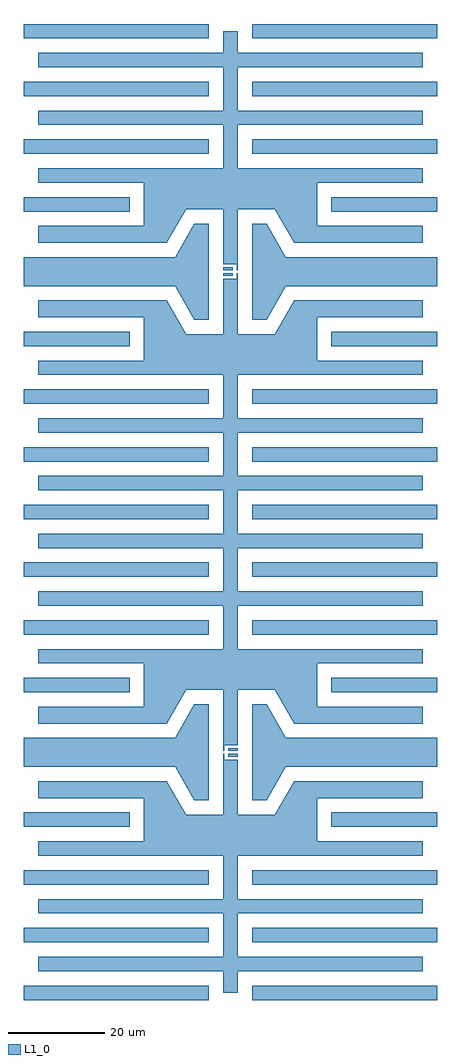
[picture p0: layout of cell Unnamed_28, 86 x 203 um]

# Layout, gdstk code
from math import pi, radians
import gdstk
lib = gdstk.Library(unit=1e-6, precision=1e-09)
def R(c, l, rs):  # rectangles x0, y0, x1, y1
    for r in rs: c.add(gdstk.rectangle(r[:2], r[2:], *l))
def P(c, l, *ps):  # polygons
    for p in ps: c.add(gdstk.Polygon(p, *l))
L1_0 = (1, 0)

unnamed_32 = lib.new_cell('Unnamed_32')
P(unnamed_32, L1_0, [(38.5,0),(38.5,4.5),(0,4.5),(0,7.5),(38.5,7.5),(38.5,16.5),(0,16.5),(0,19.5),(38.5,19.5),(38.5,28.5),(0,28.5),(0,31.5),(22,31.5),(22,40.5),(0,40.5),(0,44),(26.759,44),(30.759,37),(38.5,37),(38.5,48.5),(40,48.5),(40,0)])

straight_l38p5_n2_csxs_e = lib.new_cell('straight_L38p5_N2_CSxs_e9659eb0')
R(straight_l38p5_n2_csxs_e, L1_0, [(0,-1.5,38.5,1.5)])

straight_array_n3_s9_l3_ = lib.new_cell('straight_array_N3_S9_L3_b91b2c6a')
straight_array_n3_s9_l3_.add(gdstk.Reference(straight_l38p5_n2_csxs_e, (0,0)))
straight_array_n3_s9_l3_.add(gdstk.Reference(straight_l38p5_n2_csxs_e, (0,12)))
straight_array_n3_s9_l3_.add(gdstk.Reference(straight_l38p5_n2_csxs_e, (0,24)))

straight_l22_n2_csxs_e96 = lib.new_cell('straight_L22_N2_CSxs_e9659eb0')
R(straight_l22_n2_csxs_e96, L1_0, [(0,-1.5,22,1.5)])

unnamed_29 = lib.new_cell('Unnamed_29')
unnamed_29.add(gdstk.Reference(straight_array_n3_s9_l3_, (-3,0)))
unnamed_29.add(gdstk.Reference(straight_l22_n2_csxs_e96, (-3,36)))

straight_l31p5_n2_csxs_4 = lib.new_cell('straight_L31p5_N2_CSxs_41e8578a')
R(straight_l31p5_n2_csxs_4, L1_0, [(0,-3,31.5,3)])

triangle_x10_x3_y7_y3_l1 = lib.new_cell('triangle_X10_X3_Y7_Y3_L1_0')
P(triangle_x10_x3_y7_y3_l1, L1_0, [(0,0),(0,7),(3,7),(10,3),(10,0)])

unnamed_30 = lib.new_cell('Unnamed_30')
unnamed_30.add(gdstk.Reference(straight_l31p5_n2_csxs_4, (-3,50)))
unnamed_30.add(gdstk.Reference(triangle_x10_x3_y7_y3_l1, (35.5,50), rotation=3*pi/2, x_reflection=True))

unnamed_33 = lib.new_cell('Unnamed_33')
unnamed_33.add(gdstk.Reference(unnamed_32, (0,0)))
unnamed_33.add(gdstk.Reference(unnamed_29, (0,0)))
unnamed_33.add(gdstk.Reference(unnamed_30, (0,0)))

rectangle_s2_0p6_lwg_cf_ = lib.new_cell('rectangle_S2_0p6_LWG_CF_a6a46f17')
R(rectangle_s2_0p6_lwg_cf_, L1_0, [(0,0,2,0.6)])

rectangle_s0p2_1p2_lwg__ = lib.new_cell('rectangle_S0p2_1p2_LWG__107b6a9b')
R(rectangle_s0p2_1p2_lwg__, L1_0, [(0,0,0.2,1.2)])

unnamed_34 = lib.new_cell('Unnamed_34')
unnamed_34.add(gdstk.Reference(rectangle_s2_0p6_lwg_cf_, (0,-0.9)))
unnamed_34.add(gdstk.Reference(rectangle_s0p2_1p2_lwg__, (2.8,-1.5)))

unit_cell_a0 = lib.new_cell('unit_cell_A0')
unit_cell_a0.add(gdstk.Reference(unnamed_33, (0,0)))
unit_cell_a0.add(gdstk.Reference(unnamed_33, (80,0), rotation=pi, x_reflection=True))
unit_cell_a0.add(gdstk.Reference(unnamed_33, (0,100), x_reflection=True))
unit_cell_a0.add(gdstk.Reference(unnamed_33, (80,100), rotation=pi))
unit_cell_a0.add(gdstk.Reference(unnamed_34, (38.5,50)))
unit_cell_a0.add(gdstk.Reference(unnamed_34, (38.5,50), x_reflection=True))

unnamed_39 = lib.new_cell('Unnamed_39')
P(unnamed_39, L1_0, [(38.5,0),(38.5,4.5),(0,4.5),(0,7.5),(38.5,7.5),(38.5,16.5),(0,16.5),(0,19.5),(38.5,19.5),(38.5,28.5),(0,28.5),(0,31.5),(22,31.5),(22,40.5),(0,40.5),(0,44),(26.759,44),(30.759,37),(38.5,37),(38.5,48.5),(40,48.5),(40,0)])

unnamed_36 = lib.new_cell('Unnamed_36')
unnamed_36.add(gdstk.Reference(straight_array_n3_s9_l3_, (-3,0)))
unnamed_36.add(gdstk.Reference(straight_l22_n2_csxs_e96, (-3,36)))

unnamed_37 = lib.new_cell('Unnamed_37')
unnamed_37.add(gdstk.Reference(straight_l31p5_n2_csxs_4, (-3,50)))
unnamed_37.add(gdstk.Reference(triangle_x10_x3_y7_y3_l1, (35.5,50), rotation=3*pi/2, x_reflection=True))

unnamed_40 = lib.new_cell('Unnamed_40')
unnamed_40.add(gdstk.Reference(unnamed_39, (0,0)))
unnamed_40.add(gdstk.Reference(unnamed_36, (0,0)))
unnamed_40.add(gdstk.Reference(unnamed_37, (0,0)))

unnamed_41 = lib.new_cell('Unnamed_41')
unnamed_41.add(gdstk.Reference(rectangle_s2_0p6_lwg_cf_, (1,-0.9)))
unnamed_41.add(gdstk.Reference(rectangle_s0p2_1p2_lwg__, (0,-1.5)))

unit_cell_a1 = lib.new_cell('unit_cell_A1')
unit_cell_a1.add(gdstk.Reference(unnamed_40, (0,0)))
unit_cell_a1.add(gdstk.Reference(unnamed_40, (80,0), rotation=pi, x_reflection=True))
unit_cell_a1.add(gdstk.Reference(unnamed_40, (0,100), x_reflection=True))
unit_cell_a1.add(gdstk.Reference(unnamed_40, (80,100), rotation=pi))
unit_cell_a1.add(gdstk.Reference(unnamed_41, (38.5,50)))
unit_cell_a1.add(gdstk.Reference(unnamed_41, (38.5,50), x_reflection=True))

unnamed_28 = lib.new_cell('Unnamed_28')
unnamed_28.add(gdstk.Reference(unit_cell_a0, (0,100)))
unnamed_28.add(gdstk.Reference(unit_cell_a1, (0,0)))

lib.write_gds('Unnamed_28.gds')
